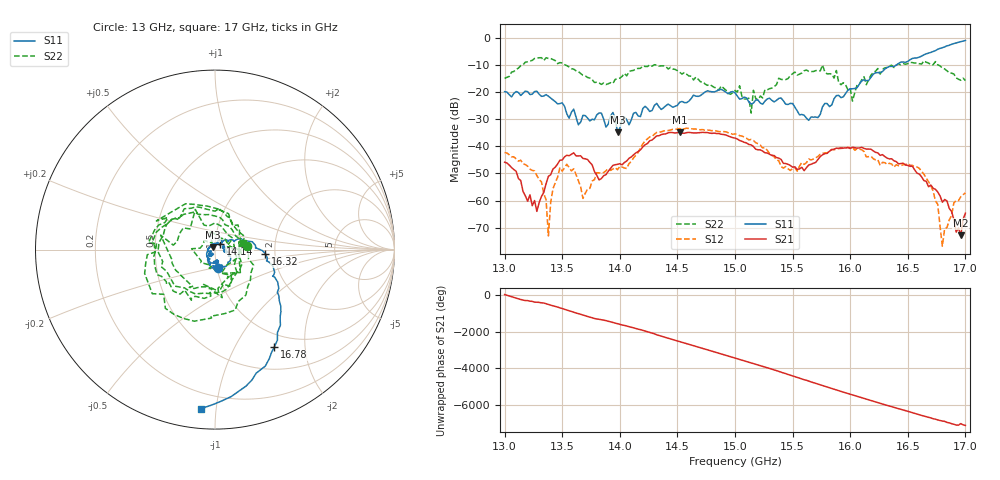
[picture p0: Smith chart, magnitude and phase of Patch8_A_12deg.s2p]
!Keysight Technologies,P9374A,MY57211810,A.19.30.04
!Date: Friday, May 09, 2025 09:20:51
!Correction: S11(Cdelta 2-Port  )
!S21(Cdelta 2-Port  )
!S12(Cdelta 2-Port  )
!S22(Cdelta 2-Port  )
!S2P File: Measurements: S11, S21, S12, S22:
# Hz S  dB  R 50
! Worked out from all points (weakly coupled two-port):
!   201 points, 13 GHz to 17 GHz, reference 50 ohm
!   highest |S21| = -34.82 dB at 14.52 GHz (marker M1); lowest = -72.8 dB at 16.96 GHz (marker M2)
!   lowest |S11| = -34.9 dB at 13.98 GHz (marker M3), VSWR 1.04, Z = 48.7 + j1.17 ohm
!   |S11| at or under -10 dB: start of sweep to 16.4 GHz
!   |S22| runs from -27.8 to -7.4 dB; largest |S21 - S12| = 0.0069
!   S11 on the Smith chart (normalised r, x): 13 GHz: 1.01, -0.20; 14.14 GHz: 1.06, +0.06; 16.32 GHz: 1.78, -0.09; 16.78 GHz: 0.80, -1.46; 17 GHz: 0.11, -0.91
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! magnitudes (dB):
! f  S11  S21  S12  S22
! 13 GHz  -19.9  -45.9  -42.3  -15.0
! 13.32 GHz  -21.6  -58.5  -53.1  -7.4
! 13.38 GHz  -21.6  -51.1  -73.0  -7.6
! 13.4 GHz  -22.2  -50.5  -60.6  -7.7
! 13.48 GHz  -24.3  -45.1  -47.8  -9.2
! 13.68 GHz  -28.6  -44.5  -59.2  -13.9
! 13.98 GHz  -34.9  -46.7  -48.6  -15.1
! 14.14 GHz  -27.5  -42.4  -43.3  -11.4
! 14.34 GHz  -25.5  -36.1  -34.8  -10.5
! 14.52 GHz  -23.7  -34.8  -33.5  -12.7
! 15 GHz  -20.3  -37.0  -35.4  -19.4
! 15.14 GHz  -24.4  -39.5  -37.5  -27.8
! 15.16 GHz  -24.1  -40.1  -37.9  -19.4
! 15.68 GHz  -29.3  -46.3  -44.7  -12.5
! 16.02 GHz  -18.8  -40.4  -40.3  -23.4
! 16.32 GHz  -11.0  -44.4  -46.7  -11.0
! 16.34 GHz  -10.6  -44.7  -46.3  -10.4
! 16.6 GHz  -7.2  -50.2  -48.1  -9.6
! 16.78 GHz  -3.9  -58.3  -69.5  -10.4
! 16.8 GHz  -3.7  -60.6  -76.8  -11.2
! 16.96 GHz  -1.5  -72.8  -58.6  -15.7
! 17 GHz  -1.0  -64.7  -57.2  -15.8
